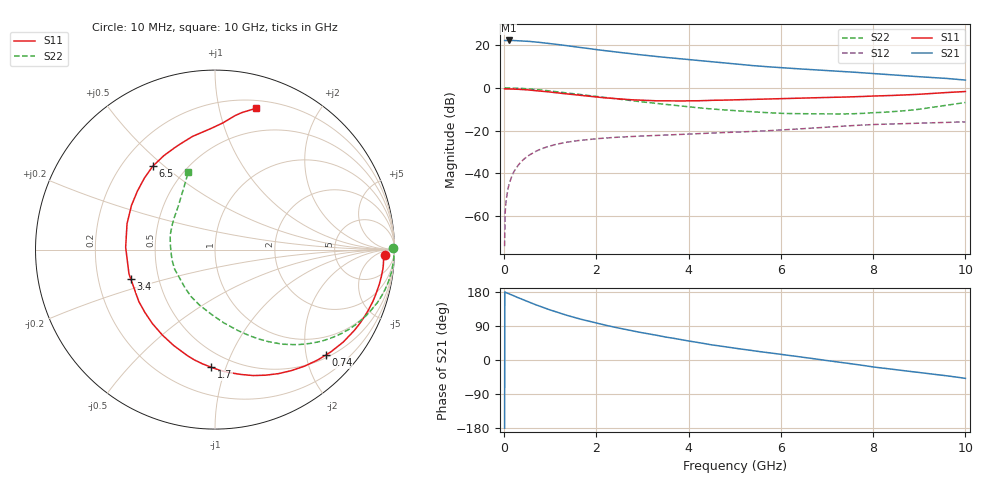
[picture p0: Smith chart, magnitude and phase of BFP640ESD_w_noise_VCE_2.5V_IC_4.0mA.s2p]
! Infineon Technologies  Discrete & RF Semiconductors
! BFP640ESD
! VCE =  2.5 V,  IC =  4.0 mA
! Common Emitter S-Parameters:  Jan 2016
# GHz  S  MA  R  50
!  f  S11  S21  S12  S22
! GHz  MAG  ANG  MAG  ANG  MAG  ANG  MAG  ANG
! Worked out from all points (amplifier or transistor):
!   233 points, 10 MHz to 10 GHz, reference 50 ohm
!   highest |S21| = 22.1 dB at 100 MHz (marker M1)
!   |S21| within 3 dB of that: start of sweep to 1.554 GHz
!   unconditionally stable (mu >= 1): 4.868 GHz to 9.093 GHz
!   at 200 MHz: K = 0.04, MSG = 30.9 dB, |S12| = -39.7 dB
!   at 1.74 GHz: K = 0.40, MSG = 21.5 dB, |S12| = -24.3 dB
!   at 10 GHz: K = 0.81, MSG = 9.8 dB, |S12| = -15.9 dB
!   lowest NFmin = 0.56 dB at 450 MHz
!   S11 on the Smith chart (normalised r, x): 10 MHz: 28, -14; 740 MHz: 0.56, -2.39; 1.7 GHz: 0.39, -0.89; 3.4 GHz: 0.34, -0.15; 6.5 GHz: 0.33, +0.46; 10 GHz: 0.27, +1.30
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0.01  0.9449 -1.7  12.78 -180.0  0.0002 -139.6  0.9896 0.6
0.02  0.9416 -1.2  12.73 179.5  0.0011 82.7  0.9993 -0.5
0.025  0.9415 -1.5  12.72 179.1  0.0014 86.2  0.999 -0.7
0.1  0.9423 -6.1  12.79 175.1  0.0052 85.7  0.9966 -3.7
0.36  0.9182 -21.8  12.56 161.7  0.0183 77.0  0.9733 -13.2
0.6  0.8809 -35.8  12.02 149.6  0.0292 68.8  0.9322 -21.4
0.74  0.8518 -43.6  11.62 143.3  0.0349 64.4  0.9034 -25.9
0.9  0.8193 -52.4  11.14 136.1  0.0408 59.8  0.8683 -30.8
1.2  0.7542 -68.1  10.17 123.9  0.0499 52.2  0.7973 -39.1
1.4  0.7116 -78.0  9.52 116.4  0.0546 47.8  0.7503 -44.0
1.68  0.6594 -90.9  8.699 107.1  0.0599 42.7  0.6909 -50.0
1.7  0.656 -91.8  8.644 106.4  0.0602 42.4  0.6869 -50.4
2.2  0.5819 -113.3  7.371 91.7  0.0672 35.7  0.5937 -59.8
2.58  0.5415 -129.3  6.58 81.7  0.0713 31.7  0.5291 -66.7
3  0.5135 -145.8  5.848 71.7  0.0749 28.5  0.469 -74.1
3.4  0.497 -160.5  5.269 63.0  0.078 26.2  0.4214 -81.2
4  0.4979 178.5  4.57 50.1  0.0834 23.4  0.3612 -93.2
5.1  0.5282 150.3  3.519 29.5  0.0931 19.0  0.2887 -118.9
6.5  0.5796 126.8  2.733 6.8  0.1114 14.2  0.2499 -154.2
6.8  0.5879 121.8  2.608 2.0  0.1168 12.6  0.2464 -161.5
8.4  0.6629 94.7  2.005 -24.3  0.1432 -0.7  0.2764 149.2
10  0.8199 73.8  1.519 -48.5  0.1605 -14.0  0.455 109.2
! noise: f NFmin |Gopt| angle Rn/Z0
0.45  0.56  0.48  10  0.14
0.9  0.59  0.46  23  0.14
1.9  0.68  0.36  48  0.13
2.4  0.72  0.32  65  0.12
5.5  1.15  0.36  -147  0.14
10  2.27  0.65  -83  0.98
